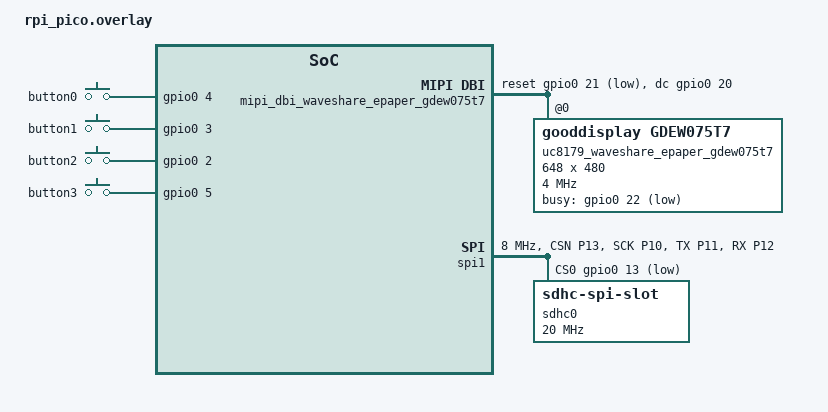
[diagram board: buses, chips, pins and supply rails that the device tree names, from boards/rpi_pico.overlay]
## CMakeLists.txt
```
# SPDX-FileCopyrightText: 2025 Anna-Lena Marx <mail@marx.engineer>
#
# SPDX-License-Identifier: MPL-2.0

cmake_minimum_required(VERSION 3.20.0)

find_package(Zephyr REQUIRED HINTS $ENV{ZEPHYR_BASE})
project(ZEReader)

zephyr_library_include_directories(src/epub)
zephyr_library_include_directories(src/ui)

add_subdirectory(src/epub)
add_subdirectory(src/ui)

target_sources(app PRIVATE src/main.c)
```

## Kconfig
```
menu "ZEReader"

config PIXEL_FORMAT_MONO10
        bool "Reverse display colors"
        default y

# Logging
# use template to create log level configurations
module = ZEREADER
module-str = zereader
source "subsys/logging/Kconfig.template.log_config"

endmenu

source "Kconfig.zephyr"
```

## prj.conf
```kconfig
# SPDX-FileCopyrightText: 2025 Anna-Lena Marx <mail@marx.engineer>
#
# SPDX-License-Identifier: MPL-2.0

# https://docs.zephyrproject.org/latest/kconfig.html

# ZEREADER
CONFIG_ZEREADER_LOG_LEVEL_DBG=y

# General config
CONFIG_GPIO=y
CONFIG_SPI=y

# Maybe needed in future?
# CONFIG_MIPI_DBI=y
# CONFIG_MIPI_DBI_SPI=y

CONFIG_SERIAL=y
# CONFIG_PRINTK=y
CONFIG_LOG=y
# immediate should only be used during development and not for timing critical stuff
CONFIG_LOG_MODE_IMMEDIATE=y
CONFIG_LOG_BACKEND_UART=y
CONFIG_UART_CONSOLE=y

####################################
# DISK ACCESS
####################################
CONFIG_DISK_ACCESS=y
CONFIG_DISK_DRIVER_SDMMC=y

CONFIG_FILE_SYSTEM=y
CONFIG_FAT_FILESYSTEM_ELM=y
CONFIG_FS_FATFS_EXFAT=y
# GPT support
CONFIG_FS_FATFS_LBA64=y
# Long file names (LFN)
CONFIG_FS_FATFS_LFN=y
# CONFIG_FS_FATFS_FF_USE_LFN=
# ONFIG_FS_FATFS_LFN_MODE=
CONFIG_FS_FATFS_LFN_MODE_STACK=y
CONFIG_FS_FATFS_MAX_LFN=255
# Commented out because default should be fine
# CONFIG_FS_FATFS_MAX_ROOT_ENTRIES=512
# CONFIG_FS_FATFS_MAX_SS=512
# CONFIG_FS_FATFS_NUM_DIRS=4
# CONFIG_FS_FATFS_NUM_FILES=4
# Unicode codepages
# CONFIG_FS_FATFS_CODEPAGE=

# For Debug Output
CONFIG_SD_LOG_LEVEL_DBG=n
CONFIG_SDHC_LOG_LEVEL_DBG=n
CONFIG_SDMMC_LOG_LEVEL_DBG=n

# Config memory
# Make sure the configured stack size matches the size of
# e.g. read buffer arrays!
CONFIG_INIT_STACKS=y
CONFIG_MAIN_STACK_SIZE=10240
CONFIG_HEAP_MEM_POOL_SIZE=50960
CONFIG_IDLE_STACK_SIZE=320
CONFIG_SYSTEM_WORKQUEUE_STACK_SIZE=1024
# CONFIG_ISR_STACK_SIZE=8128

CONFIG_DISPLAY=y
CONFIG_DISPLAY_LOG_LEVEL_DBG=n

CONFIG_INPUT=y
CONFIG_INPUT_EVENT_DUMP=y

####################################
# LVGL
####################################
CONFIG_LVGL=y
# CONFIG_APP_LINK_WITH_LVGL=y
CONFIG_LV_Z_AUTO_INIT=y
# CONFIG_LV_Z_BUTTON_INPUT=y
CONFIG_LV_Z_BUTTON_INPUT_MSGQ_COUNT=4
# CONFIG_LV_Z_ENCODER_INPUT
# CONFIG_LV_Z_FLUSH_THREAD=y
# CONFIG_LV_Z_FLUSH_THREAD_PRIORITY=-1
# CONFIG_LV_Z_FLUSH_THREAD_STACK_SIZE=1024 TODO
# CONFIG_LV_Z_FULL_REFRESH
# CONFIG_LV_Z_INIT_PRIORITY=90
# CONFIG_LV_Z_KEYPAD_INPUT
# CONFIG_LV_Z_POINTER_INPUT
# CONFIG_LV_Z_SHELL
# CONFIG_LV_Z_USE_FILESYSTEM=y

# CONFIG_LV_Z_BITS_PER_PIXEL=1
CONFIG_LV_COLOR_DEPTH_1=y
# CONFIG_LV_COLOR_DEPTH_8=y

# LVGL Memory
# CONFIG_LV_Z_MEMORY_POOL
# CONFIG_LV_Z_MEMORY_POOL_CUSTOM_SECTION
# CONFIG_LV_Z_MEM_POOL_HEAP_LIB_C
CONFIG_LV_Z_MEM_POOL_SIZE=32768
# CONFIG_LV_Z_MEM_POOL_SYS_HEAP=n
# CONFIG_LV_Z_BUFFER_ALLOC_DYNAMIC
# CONFIG_LV_Z_BUFFER_ALLOC_STATIC
# CONFIG_LV_Z_RENDERING_BUFFER_ALLOCATION

# Use two rendering buffers
CONFIG_LV_Z_DOUBLE_VDB=y

# CONFIG_LV_Z_MONOCHROME_CONVERSION_BUFFER=y
CONFIG_LV_Z_FULL_REFRESH=n
# Huge RAM influence!
CONFIG_LV_Z_VDB_SIZE=100
# CONFIG_LV_Z_VDB_ALIGN=4
# CONFIG_LV_Z_VDB_CUSTOM_SECTION

# parallel rendering
# CONFIG_LV_Z_USE_OSAL

# LVGL CONFIGS from the module
CONFIG_LV_USE_THEME_MONO=y
CONFIG_LV_DRAW_SW_I1_LUM_THRESHOLD=65


# CONFIG_LV_FONT_DEFAULT_MONTSERRAT_12=y
# CONFIG_LV_TXT_ENC_UTF8=y

CONFIG_LV_USE_LOG=y
# LV_TXT_LINE_BREAK_LONG_LEN
# CONFIG_LV_USE_LIBPNG=y
# CONFIG_LV_USE_LIBJPEG_TURBO=y
```

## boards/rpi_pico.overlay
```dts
/*
 * SPDX-FileCopyrightText: 2025 Anna-Lena Marx <mail@marx.engineer>
 *
 * SPDX-License-Identifier: MPL-2.0
 */

#include <zephyr/dt-bindings/input/input-event-codes.h>
#include <zephyr/dt-bindings/lvgl/lvgl.h>

/ {

  chosen {
    zephyr,display = &uc8179_waveshare_epaper_gdew075t7;
  };

  mipi_dbi_waveshare_epaper_gdew075t7 {
    compatible = "zephyr,mipi-dbi-spi";
    spi-dev = <&spi0>; //spi@0 -> GPIO 16-19
    dc-gpios = <&gpio0 20 GPIO_ACTIVE_HIGH>;
    reset-gpios = <&gpio0 21 GPIO_ACTIVE_LOW>;
    write-only;
    #address-cells = <1>;
    #size-cells = <0>;

    uc8179_waveshare_epaper_gdew075t7: uc8179@0 {
      compatible = "gooddisplay,gdew075t7", "ultrachip,uc8179";
      mipi-max-frequency = <4000000>;
      reg = <0>;
      width = <648>;
      height = <480>;
      busy-gpios = <&gpio0 22 GPIO_ACTIVE_LOW>;

      softstart = [ 17 17 17  ];

      full {
        pwr = [ 07 07 3f 3f  ];
        // pwr = [ 03 00 36 36 09 ];
        cdi = <0x07>;
        // cdi = <0xd7>;
        tcon = <0x22>;
      };

      partial {
        pwr = [ 03 02 2b 2b ];
				cdi = <0x07>;
				pll = <0x3c>;
				vdcs = <0x08>;

        // Too much artifacts!
        // lutc = [
				// 	00 01 0E 00 00 01
				// 	00 00 00 00 00 00
				// 	00 00 00 00 00 00
				// 	00 00 00 00 00 00
				// 	00 00 00 00 00 00
				// 	00 00 00 00 00 00
				// 	00 00 00 00 00 00
				// 	00 00
				// ];

				// lutww = [
				// 	00 01 0E 00 00 01
				// 	00 00 00 00 00 00
				// 	00 00 00 00 00 00
				// 	00 00 00 00 00 00
				// 	00 00 00 00 00 00
				// 	00 00 00 00 00 00
				// 	00 00 00 00 00 00
				// ];

				// lutkw = [
				// 	20 01 0E 00 00 01
				// 	00 00 00 00 00 00
				// 	00 00 00 00 00 00
				// 	00 00 00 00 00 00
				// 	00 00 00 00 00 00
				// 	00 00 00 00 00 00
				// 	00 00 00 00 00 00
				// ];

				// lutwk = [
				// 	10 01 0E 00 00 01
				// 	00 00 00 00 00 00
				// 	00 00 00 00 00 00
				// 	00 00 00 00 00 00
				// 	00 00 00 00 00 00
				// 	00 00 00 00 00 00
				// 	00 00 00 00 00 00
				// ];

				// lutkk = [
				// 	00 01 0E 00 00 01
				// 	00 00 00 00 00 00
				// 	00 00 00 00 00 00
				// 	00 00 00 00 00 00
				// 	00 00 00 00 00 00
				// 	00 00 00 00 00 00
				// 	00 00 00 00 00 00
				// ];
      };
    };
  };

  keys: keys {
    compatible = "gpio-keys";
    button0: button0 {
      gpios = <&gpio0 4 GPIO_ACTIVE_HIGH>;
      zephyr,code = <INPUT_KEY_0>;
    };

    button1: button1 {
      gpios = <&gpio0 3 GPIO_ACTIVE_HIGH>;
      zephyr,code = <INPUT_KEY_1>;
    };

    button2: button2 {
      gpios = <&gpio0 2 GPIO_ACTIVE_HIGH>;
      zephyr,code = <INPUT_KEY_2>;
    };

    button3: button3 {
      gpios = <&gpio0 5 GPIO_ACTIVE_HIGH>;
      zephyr,code = <INPUT_KEY_3>;
    };
  };

  lvgl_button_input: lvgl_button_input {
    compatible = "zephyr,lvgl-button-input";
    input = <&keys>;
    input-codes = <INPUT_KEY_1 INPUT_KEY_2 INPUT_KEY_3 INPUT_KEY_4>;
    coordinates = <10 470>, <310 470>, <400 470>, <610 470>;
  };
};

// Pinmux defines:
// https://docs.zephyrproject.org/apidoc/latest/rpi-pico-pinctrl-common_8h_source.html
&pinctrl {
  spi1_default: spi1_default {
    group1 {
      pinmux = <SPI1_CSN_P13>, <SPI1_SCK_P10>, <SPI1_TX_P11>;
    };
    group2 {
      pinmux = <SPI1_RX_P12>;
      input-enable;
    };
  };
};

&spi1 {
  clock-frequency = <DT_FREQ_M(8)>;
  status = "okay";
  pinctrl-0 = <&spi1_default>;
  pinctrl-names = "default";

  cs-gpios = <&gpio0 13 GPIO_ACTIVE_LOW>;

  sdhc0: sdhc@0 {
    compatible = "zephyr,sdhc-spi-slot";
    reg = <0>;
    status = "okay";
    mmc {
      compatible = "zephyr,sdmmc-disk";
      disk-name = "SD";
      status = "okay";
    };
    spi-max-frequency = <20000000>;
  };
};

&i2c0 {
  status = "disabled";
};

&i2c1 {
  status = "disabled";
};
```

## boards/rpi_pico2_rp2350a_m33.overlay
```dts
/*
 * SPDX-FileCopyrightText: 2025 Anna-Lena Marx <mail@marx.engineer>
 *
 * SPDX-License-Identifier: MPL-2.0
 */

#include <zephyr/dt-bindings/input/input-event-codes.h>
#include <zephyr/dt-bindings/lvgl/lvgl.h>

/ {

  chosen {
    zephyr,display = &uc8179_waveshare_epaper_gdew075t7;
  };

  mipi_dbi_waveshare_epaper_gdew075t7 {
    compatible = "zephyr,mipi-dbi-spi";
    spi-dev = <&spi0>; //spi@0 -> GPIO 16-19
    dc-gpios = <&gpio0 20 GPIO_ACTIVE_HIGH>;
    reset-gpios = <&gpio0 21 GPIO_ACTIVE_LOW>;
    write-only;
    #address-cells = <1>;
    #size-cells = <0>;

    uc8179_waveshare_epaper_gdew075t7: uc8179@0 {
      compatible = "gooddisplay,gdew075t7", "ultrachip,uc8179";
      mipi-max-frequency = <4000000>;
      reg = <0>;
      width = <648>;
      height = <480>;
      busy-gpios = <&gpio0 22 GPIO_ACTIVE_LOW>;

      softstart = [ 17 17 28 17 ];

      full {
        pwr = [ 07 07 3f 3f 09];
        cdi = <0x07>;
        tcon = <0x60>;
        pll = <0x30>;
      };

      partial {
        pwr = [ 07 07 3f 3f 09 ];
				cdi = <0x07>;
				pll = <0x3c>;
				vdcs = <0x08>;

        lutc = [
					00 01 0E 00 00 01
					00 00 00 00 00 00
					00 00 00 00 00 00
					00 00 00 00 00 00
					00 00 00 00 00 00
					00 00 00 00 00 00
					00 00 00 00 00 00
					00 00
				];

				lutww = [
					00 01 0E 00 00 01
					00 00 00 00 00 00
					00 00 00 00 00 00
					00 00 00 00 00 00
					00 00 00 00 00 00
					00 00 00 00 00 00
					00 00 00 00 00 00
				];

				lutkw = [
					20 01 0E 00 00 01
					00 00 00 00 00 00
					00 00 00 00 00 00
					00 00 00 00 00 00
					00 00 00 00 00 00
					00 00 00 00 00 00
					00 00 00 00 00 00
				];

				lutwk = [
					10 01 0E 00 00 01
					00 00 00 00 00 00
					00 00 00 00 00 00
					00 00 00 00 00 00
					00 00 00 00 00 00
					00 00 00 00 00 00
					00 00 00 00 00 00
				];

				lutkk = [
					00 01 0E 00 00 01
					00 00 00 00 00 00
					00 00 00 00 00 00
					00 00 00 00 00 00
					00 00 00 00 00 00
					00 00 00 00 00 00
					00 00 00 00 00 00
				];
      };
    };
  };

  keys: keys {
    compatible = "gpio-keys";
    button1: button1 {
      gpios = <&gpio0 2 GPIO_ACTIVE_LOW>;
      zephyr,code = <INPUT_KEY_1>;
    };

    button2: button2 {
      gpios = <&gpio0 3 GPIO_ACTIVE_LOW>;
      zephyr,code = <INPUT_KEY_2>;
    };

    button3: button3 {
      gpios = <&gpio0 4 GPIO_ACTIVE_LOW>;
      zephyr,code = <INPUT_KEY_3>;
    };

    button4: button4 {
      gpios = <&gpio0 5 GPIO_ACTIVE_LOW>;
      zephyr,code = <INPUT_KEY_4>;
    };
  };

  lvgl_button_input: lvgl_button_input {
    compatible = "zephyr,lvgl-button-input";
    input = <&keys>;
    input-codes = <INPUT_KEY_1 INPUT_KEY_2 INPUT_KEY_3 INPUT_KEY_4>;
    coordinates = <10 470>, <310 470>, <400 470>, <610 470>;
  };
};

&spi0 {
  status = "okay";
};

// Pinmux defines:
// https: //docs.zephyrproject.org/apidoc/latest/rpi-pico-pinctrl-common_8h_source.html
&pinctrl {
  spi1_default: spi1_default {
    group1 {
      pinmux = <SPI1_CSN_P13>, <SPI1_SCK_P10>, <SPI1_TX_P11>;
    };
    group2 {
      pinmux = <SPI1_RX_P12>;
      input-enable;
    };
  };
};

&spi1 {
  clock-frequency = <DT_FREQ_M(8)>;
  status = "okay";
  pinctrl-0 = <&spi1_default>;
  pinctrl-names = "default";

  cs-gpios = <&gpio0 13 GPIO_ACTIVE_LOW>;
  sdhc0: sdhc@0 {
    compatible = "zephyr,sdhc-spi-slot";
    reg = <0>;
    status = "okay";
    mmc {
      compatible = "zephyr,sdmmc-disk";
      disk-name = "SD";
      status = "okay";
    };
    spi-max-frequency = < 10000000 >;
  };
};

&i2c0 {
  status = "disabled";
};

&i2c1 {
  status = "disabled";
};
```

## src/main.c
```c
/*
 * SPDX-FileCopyrightText: 2025 Anna-Lena Marx <mail@marx.engineer>
 *
 * SPDX-License-Identifier: MPL-2.0
 */

#include <stdio.h>
#include <zephyr/logging/log.h>
#include <zephyr/device.h>
#include <zephyr/devicetree.h>
#include <zephyr/drivers/display.h>
#include <zephyr/kernel.h>

#include <lib/epub/epub.h>
#include <lib/ui/ui.h>

LOG_MODULE_REGISTER(main, CONFIG_ZEREADER_LOG_LEVEL);

int main(void)
{
	LOG_DBG("Hello World - ZEReader! %s\n", CONFIG_BOARD_TARGET);

	// Initialize the choosen zephyr,display device
	// -> Make the device tree description available for the software part
	display_dev = DEVICE_DT_GET(DT_CHOSEN(zephyr_display));
	if (!device_is_ready(display_dev))
	{
		LOG_ERR("Device not ready, aborting...");
		return 0;
	}

	// Make the FIRST ok zephyr,lvgl-button-input node available to the software part
	static const struct device *lvgl_btn_dev;
	lvgl_btn_dev = DEVICE_DT_GET(DT_COMPAT_GET_ANY_STATUS_OKAY(zephyr_lvgl_button_input));
	if (!device_is_ready(lvgl_btn_dev))
	{
		LOG_ERR("Device not ready, aborting...");
		return 0;
	}

	context_t context = READING;
	zereader_setup_page();
	zereader_setup_control_buttons(&context);
	zereader_show_logo();
	lv_timer_handler();
	display_blanking_off(display_dev);

	epub_initialize();
	zereader_clean_page();

	epub_restore_book();
	zereader_print_current_page();


	// Testing
	//epub_open_book(epub_get_book_entry(1));


	lv_timer_handler();

	while (1)
	{
		uint32_t sleep_ms = lv_timer_handler();

		k_msleep(MIN(sleep_ms, INT32_MAX));
	}

	return 0;
}
```
